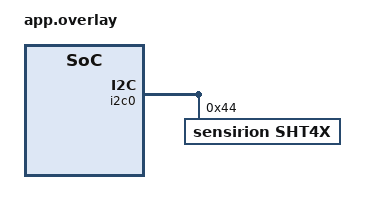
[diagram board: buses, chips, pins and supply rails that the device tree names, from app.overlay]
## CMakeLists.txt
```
cmake_minimum_required(VERSION 3.20.0)
find_package(Zephyr REQUIRED HINTS $ENV{ZEPHYR_BASE})

project(untitled_1)

target_sources(app PRIVATE src/main.c src/power.c)
```

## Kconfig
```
config APP_LOG_LEVEL
  int "App Debug Level"
  default LOG_MAX_LEVEL

source "Kconfig.zephyr"
```

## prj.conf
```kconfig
CONFIG_DEBUG_OPTIMIZATIONS=y
CONFIG_DEBUG=y
CONFIG_STACK_USAGE=y
CONFIG_STACK_SENTINEL=y
CONFIG_DEBUG_INFO=y
CONFIG_DEBUG_THREAD_INFO=y




CONFIG_LOG=y
CONFIG_LOG_SPEED=y
CONFIG_LOG_BACKEND_RTT=n
CONFIG_LOG_BACKEND_UART_OUTPUT_DICTIONARY_HEX=y
CONFIG_LOG_BACKEND_FORMAT_TIMESTAMP=n
CONFIG_LOG_OUTPUT_FORMAT_LINUX_TIMESTAMP=y
CONFIG_LOG_FMT_SECTION=y


CONFIG_I2C=y
CONFIG_SENSOR=y
CONFIG_SENSOR_LOG_LEVEL_DBG=y
CONFIG_I2C_LOG_LEVEL_DBG=y
CONFIG_CBPRINTF_FP_A_SUPPORT=y

CONFIG_SMF=y
CONFIG_SMF_ANCESTOR_SUPPORT=y
CONFIG_EVENTS=y
```

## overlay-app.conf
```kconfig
CONFIG_USB_DEVICE_STACK=y
CONFIG_USB_DEVICE_PRODUCT="Zephyr USB Output"
CONFIG_SHELL_BACKEND_SERIAL_CHECK_DTR=y
CONFIG_UART_LINE_CTRL=y
CONFIG_SHELL_BACKEND_SERIAL_INIT_PRIORITY=51
CONFIG_USB_DEVICE_INITIALIZE_AT_BOOT=n
```

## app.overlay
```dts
&i2c0 {
    status = "okay";
    sht4x@44 {
        status = "okay";
        compatible = "sensirion,sht4x";
        reg = <0x44>;
        repeatability = <2>;
    };
};
```

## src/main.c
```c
#include <zephyr/kernel.h>
#include <zephyr/logging/log.h>
#include <zephyr/drivers/sensor.h>
#include <zephyr/drivers/gpio.h>
#include <zephyr/device.h>
#include <zephyr/smf.h>
LOG_MODULE_REGISTER(app, 4);

#define SENSOR_EVENT_CONFIG BIT(0)
#define SENSOR_EVENT_READ BIT(1)
#define SENSOR_EVENT_MSK (SENSOR_EVENT_CONFIG | SENSOR_EVENT_READ)

typedef struct
{
    uint16_t read_period_ms;
} sensor_config_t;

typedef struct
{
    struct smf_ctx ctx;
    struct k_timer read_timer;
    struct k_event events;
    uint32_t triggered_events;
    const struct device *const device;

    sensor_config_t config;
} sensor_smf_ctx_t;

static const struct smf_state sensor_states[];

enum sensor_state
{
    SENSOR_STATE_INIT,
    SENSOR_STATE_IDLE,
    SENSOR_STATE_CONFIG,
    SENSOR_STATE_READ,
};

static void sensor_init_entry(void *o)
{
    sensor_smf_ctx_t *ctx = o;
    LOG_DBG("ctx: %p", ctx);

    if (!ctx->device)
    {
        LOG_ERR("sensirion_sht4x device doesn't exist");
        return;
    }

    if (!device_is_ready(ctx->device))
    {
        LOG_ERR("device %s is not ready", ctx->device->name);
        return;
    }

    smf_set_state(o, &sensor_states[SENSOR_STATE_IDLE]);
}

static void sensor_idle_entry(void *o) { LOG_DBG("ctx: %p", o); }

static void sensor_idle_run(void *o)
{
    sensor_smf_ctx_t *ctx = o;
    LOG_DBG("ctx: %p", ctx);

    if (ctx->triggered_events & SENSOR_EVENT_CONFIG)
    {
        smf_set_state(o, &sensor_states[SENSOR_STATE_CONFIG]);
    }

    if (ctx->triggered_events & SENSOR_EVENT_READ)
    {
        smf_set_state(o, &sensor_states[SENSOR_STATE_READ]);
    }
}

static void sensor_config_entry(void *o)
{
    sensor_smf_ctx_t *ctx = o;
    LOG_DBG("ctx: %p", ctx);

    k_timer_stop(&ctx->read_timer);
    k_event_clear(&ctx->events, SENSOR_EVENT_READ);

    if (ctx->config.read_period_ms == 0)
    {
        LOG_ERR("Sensor configuration must specify non-zero read period");
        k_panic();
    }
    LOG_DBG("Starting timer for %d ms", ctx->config.read_period_ms);

    k_timeout_t timeout = K_MSEC(ctx->config.read_period_ms);
    k_timer_start(&ctx->read_timer, timeout, timeout);
    smf_set_state(o, &sensor_states[SENSOR_STATE_IDLE]);
}

static void sensor_config_run(void *o) { LOG_DBG("ctx: %p", o); }

static void sensor_read_entry(void *o)
{
    sensor_smf_ctx_t *ctx = o;
    LOG_DBG("ctx: %p", ctx);

    if (sensor_sample_fetch(ctx->device))
    {
        LOG_ERR("failed to fetch sample from sensor device %s", ctx->device->name);
        return;
    }

    struct sensor_value temp, hum;
    sensor_channel_get(ctx->device, SENSOR_CHAN_AMBIENT_TEMP, &temp);
    sensor_channel_get(ctx->device, SENSOR_CHAN_HUMIDITY, &hum);

    LOG_DBG("%s: %.2f Temp. [C]", ctx->device->name, sensor_value_to_double(&temp));
    LOG_DBG("%s: %.2f RH. [%%]", ctx->device->name, sensor_value_to_double(&hum));

    smf_set_state(o, &sensor_states[SENSOR_STATE_IDLE]);
}

static void sensor_read_run(void *o) { LOG_DBG("ctx: %p", o); }

static const struct smf_state sensor_states[] = {
    [SENSOR_STATE_INIT] = SMF_CREATE_STATE(sensor_init_entry, NULL, NULL, NULL),
    [SENSOR_STATE_IDLE] = SMF_CREATE_STATE(sensor_idle_entry, sensor_idle_run, NULL, NULL),
    [SENSOR_STATE_CONFIG] = SMF_CREATE_STATE(sensor_config_entry, sensor_config_run, NULL, NULL),
    [SENSOR_STATE_READ] = SMF_CREATE_STATE(sensor_read_entry, sensor_read_run, NULL, NULL),
};

void sensor_read_timeout(struct k_timer *timer)
{
    sensor_smf_ctx_t *ctx = (sensor_smf_ctx_t *)k_timer_user_data_get(timer);
    LOG_DBG("ctx: %p", ctx);
    k_event_post(&ctx->events, SENSOR_EVENT_READ);
}

void sensor_config_received()
{
}

void sensor_thread(void *, void *, void *)
{
    LOG_DBG("Initializing sensor thread");

    sensor_smf_ctx_t ctx = {
        .device = DEVICE_DT_GET_ANY(sensirion_sht4x),
    };
    ctx.config.read_period_ms = 5000;

    LOG_DBG("ctx: %p", &ctx);

    k_event_init(&ctx.events);
    k_timer_init(&ctx.read_timer, sensor_read_timeout, NULL);
    k_timer_user_data_set(&ctx.read_timer, &ctx);

    k_event_post(&ctx.events, SENSOR_EVENT_CONFIG);

    smf_set_initial(SMF_CTX(&ctx), &sensor_states[SENSOR_STATE_INIT]);
    while (true)
    {
        ctx.triggered_events = k_event_wait(&ctx.events, SENSOR_EVENT_MSK, false, K_FOREVER);
        ctx.triggered_events |= k_event_clear(&ctx.events, ctx.triggered_events);

        int ret = smf_run_state(SMF_CTX(&ctx));
        if (ret)
        {
            LOG_ERR("SMF framework error: %d", ret);
            break;
        }
        k_yield();
    }
}

K_THREAD_DEFINE(sensor_tid, 1024, sensor_thread, NULL, NULL, NULL, 1, 0, 0);

int main(void)
{
    LOG_DBG("HEllo");
    k_sleep(K_FOREVER);
}
```

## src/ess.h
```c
#include <stdint.h>

struct es_measurement_desc
{
    uint16_t flags;
    uint8_t sampling_func;
    uint8_t period[3];
    uint8_t update_interval[3];
    uint8_t application;
    uint8_t uncertainty;
} __packed;

union Value
{
    uint16_t humidity;
    int16_t temperature;
};

struct es_trigger_setting_desc
{
    uint8_t condition;
    union
    {
        uint8_t operand[3];
        union Value value;
    };
} __packed;

struct es_configuration_desc
{
    uint8_t trigger_logic;
} __packed;

struct gatt_valid_range_desc
{
    union Value lower;
    union Value upper;
} __packed;
```

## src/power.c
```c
#include <zephyr/kernel.h>
#include <zephyr/logging/log.h>
LOG_MODULE_REGISTER(power, 4);

#include <hal/nrf_gpiote.h>
#include <nrfx_gpiote.h>
#include <nrfx_ppi.h>

#define CONFIG_POWER_LED_GPIO_PIN 13
#define CONFIG_POWER_LED_PRIORITY CONFIG_MAIN_THREAD_PRIORITY

typedef uint8_t nrf_gpiote_channel_t;
nrf_gpiote_channel_t led_gpiote_ch;
nrf_ppi_channel_t sleep_ppi_ch;
nrf_ppi_channel_t wake_ppi_ch;
nrf_ppi_channel_group_t ppi_gp;

#define FATAL_ERR(msg)       \
    if (err != NRFX_SUCCESS) \
    {                        \
        LOG_ERR(msg);        \
        return;              \
    }

void init_power_led()
{
    uint32_t pin = CONFIG_POWER_LED_GPIO_PIN;
    nrfx_gpiote_output_config_t config = {
        .drive = NRF_GPIO_PIN_S0S1,
        .input_connect = NRF_GPIO_PIN_INPUT_DISCONNECT,
        .pull = NRF_GPIO_PIN_NOPULL,
    };
    nrfx_gpiote_task_config_t task = {
        .task_ch = led_gpiote_ch,
        .polarity = NRF_GPIOTE_POLARITY_TOGGLE,
        .init_val = NRF_GPIOTE_INITIAL_VALUE_LOW,
    };
    nrfx_err_t err;

    err = nrfx_gpiote_channel_alloc(&led_gpiote_ch);
    FATAL_ERR("failed to allocate gpiote channel");

    err = nrfx_ppi_channel_alloc(&sleep_ppi_ch);
    FATAL_ERR("failed to allocate sleep ppi channel");

    err = nrfx_ppi_channel_alloc(&wake_ppi_ch);
    FATAL_ERR("failed to allocate wake ppi channel");

    err = nrfx_ppi_group_alloc(&ppi_gp);
    FATAL_ERR("failed to allocate ppi group");

    err = nrfx_gpiote_output_configure(pin, &config, &task);
    FATAL_ERR("failed to configure gpiote task");

    nrfx_gpiote_out_task_enable(pin);

    err = nrfx_ppi_channel_assign(sleep_ppi_ch, &NRF_POWER->EVENTS_SLEEPENTER, nrfx_gpiote_set_task_address_get(pin));
    FATAL_ERR("failed to assign sleep ppi channel");

    err = nrfx_ppi_channel_assign(wake_ppi_ch, &NRF_POWER->EVENTS_SLEEPEXIT, nrfx_gpiote_clr_task_address_get(pin));
    FATAL_ERR("failed to assign wake ppi channel");

    err = nrfx_ppi_channels_include_in_group(BIT(sleep_ppi_ch) | BIT(wake_ppi_ch), ppi_gp);
    FATAL_ERR("failed to assign ppi channels to group");

    err = nrfx_ppi_group_enable(ppi_gp);
    FATAL_ERR("failed to enable ppi group");
}

K_THREAD_DEFINE(power_led, 1024, init_power_led, NULL, NULL, NULL, CONFIG_POWER_LED_PRIORITY, 0, 0);
```
